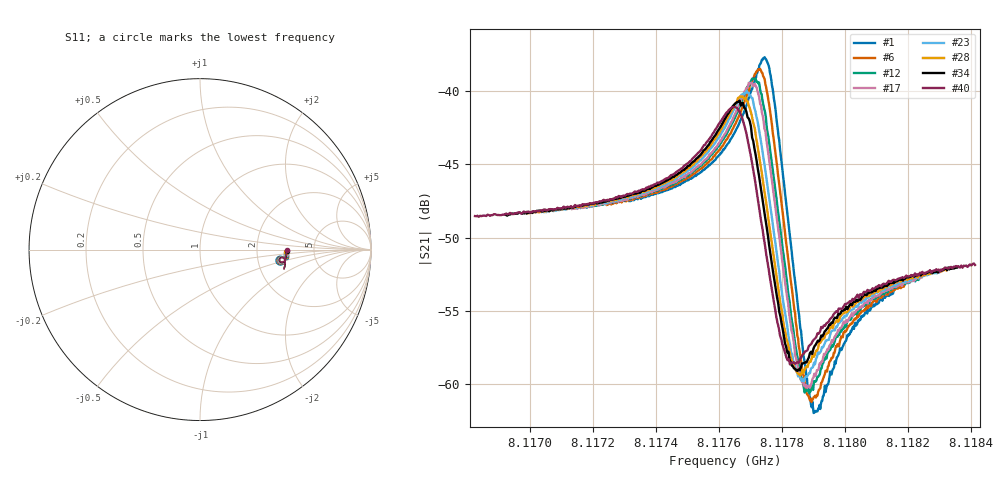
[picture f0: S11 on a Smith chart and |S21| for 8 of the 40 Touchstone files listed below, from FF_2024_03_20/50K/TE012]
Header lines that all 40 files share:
#  HZ  S  RI  R  50.00
! Rohde & Schwarz Vector Network Analyzer
! Rohde-Schwarz,ZNB20-2Port,1311601062101988,3.16
! freq[Hz]  re:S11  im:S11  re:S21  im:S21  re:S12  im:S12  re:S22  im:S22
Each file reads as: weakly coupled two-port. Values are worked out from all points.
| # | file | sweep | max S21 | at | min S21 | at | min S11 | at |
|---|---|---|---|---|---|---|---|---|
| 1 | 81_2_48.2021_50.1861267_19023.945_222.97179913520813_.s2p | 8.117314 GHz to 8.118154 GHz | -37.69 dB | 8.117744 GHz | -62.0 dB | 8.1179 GHz | -7.0 dB | 8.117753 GHz |
| 2 | 83_2_48.1961_50.1849861_19494.127_227.80148124694824_.s2p | 8.117304 GHz to 8.118159 GHz | -37.83 dB | 8.11774 GHz | -62.0 dB | 8.117907 GHz | -6.9 dB | 8.117749 GHz |
| 3 | 85_2_48.2022_50.1844521_19995.338_232.6983196735382_.s2p | 8.117302 GHz to 8.118159 GHz | -37.92 dB | 8.117743 GHz | -62.0 dB | 8.117904 GHz | -6.9 dB | 8.117749 GHz |
| 4 | 86_2_48.1984_50.1839981_20235.566_235.11758661270142_.s2p | 8.117294 GHz to 8.118164 GHz | -37.92 dB | 8.117738 GHz | -61.8 dB | 8.117905 GHz | -6.9 dB | 8.117748 GHz |
| 5 | 90_2_48.2003_50.1839714_21176.109_244.77413511276245_.s2p | 8.117273 GHz to 8.118175 GHz | -38.15 dB | 8.117738 GHz | -61.5 dB | 8.117902 GHz | -6.9 dB | 8.117744 GHz |
| 6 | 98_2_48.1957_50.1814575_23148.309_264.1296925544739_.s2p | 8.117243 GHz to 8.118189 GHz | -38.48 dB | 8.11773 GHz | -61.2 dB | 8.117893 GHz | -6.8 dB | 8.117739 GHz |
| 7 | 101_2_48.1968_50.1816101_24469.934_277.37652564048767_.s2p | 8.117222 GHz to 8.118198 GHz | -38.71 dB | 8.117717 GHz | -61.1 dB | 8.117895 GHz | -6.8 dB | 8.117732 GHz |
| 8 | 102_2_48.2026_50.1797829_24679.83_279.7968113422394_.s2p | 8.117214 GHz to 8.118203 GHz | -38.79 dB | 8.117716 GHz | -61.0 dB | 8.117884 GHz | -6.8 dB | 8.117731 GHz |
| 9 | 104_2_48.1983_50.1800156_25180.393_284.66336035728455_.s2p | 8.117196 GHz to 8.118217 GHz | -38.84 dB | 8.117722 GHz | -60.9 dB | 8.117882 GHz | -6.8 dB | 8.117732 GHz |
| 10 | 108_2_48.1974_50.1797829_26150.988_294.37465596199036_.s2p | 8.117185 GHz to 8.118219 GHz | -38.96 dB | 8.117712 GHz | -60.8 dB | 8.117893 GHz | -6.8 dB | 8.117728 GHz |
| 11 | 110_2_48.1975_50.1774673_26631.734_299.22163248062134_.s2p | 8.117183 GHz to 8.118216 GHz | -39.09 dB | 8.117715 GHz | -60.5 dB | 8.117875 GHz | -6.8 dB | 8.117726 GHz |
| 12 | 112_2_48.1966_50.1784592_27112.293_304.0671970844269_.s2p | 8.117161 GHz to 8.118234 GHz | -39.14 dB | 8.117705 GHz | -60.6 dB | 8.117888 GHz | -6.8 dB | 8.117724 GHz |
| 13 | 114_2_48.2025_50.1735039_27602.49_308.9105637073517_.s2p | 8.117157 GHz to 8.118233 GHz | -39.27 dB | 8.117703 GHz | -60.4 dB | 8.117873 GHz | -6.8 dB | 8.117725 GHz |
| 14 | 116_2_48.2016_50.174572_28112.832_313.7676160335541_.s2p | 8.117163 GHz to 8.118224 GHz | -39.25 dB | 8.117712 GHz | -60.3 dB | 8.117874 GHz | -6.7 dB | 8.11772 GHz |
| 15 | 117_2_48.2026_50.1753311_28353.061_316.191858291626_.s2p | 8.117148 GHz to 8.118237 GHz | -39.36 dB | 8.117701 GHz | -60.5 dB | 8.117872 GHz | -6.7 dB | 8.11772 GHz |
| 16 | 119_2_48.2032_50.1738129_28844.031_321.1812353134155_.s2p | 8.117149 GHz to 8.118233 GHz | -39.37 dB | 8.117707 GHz | -60.3 dB | 8.117875 GHz | -6.7 dB | 8.117721 GHz |
| 17 | 120_2_48.2_50.1747971_29074.311_323.5725076198578_.s2p | 8.117133 GHz to 8.118244 GHz | -39.42 dB | 8.117702 GHz | -60.3 dB | 8.11788 GHz | -6.7 dB | 8.117716 GHz |
| 18 | 122_2_48.2011_50.172287_30175.217_334.60672211647034_.s2p | 8.117121 GHz to 8.118248 GHz | -39.57 dB | 8.117698 GHz | -60.3 dB | 8.117879 GHz | -6.7 dB | 8.117713 GHz |
| 19 | 124_2_48.2033_50.1731262_30665.207_339.4324049949646_.s2p | 8.117111 GHz to 8.118252 GHz | -39.64 dB | 8.117696 GHz | -60.1 dB | 8.117864 GHz | -6.7 dB | 8.117713 GHz |
| 20 | 129_2_48.1983_50.1709938_31876.85_351.66021394729614_.s2p | 8.117075 GHz to 8.118277 GHz | -39.74 dB | 8.117694 GHz | -59.9 dB | 8.117871 GHz | -6.7 dB | 8.117709 GHz |
| 21 | 131_2_48.1968_50.1687126_32367.018_356.4608407020569_.s2p | 8.117078 GHz to 8.118273 GHz | -39.82 dB | 8.117693 GHz | -59.9 dB | 8.117873 GHz | -6.7 dB | 8.117705 GHz |
| 22 | 135_2_48.2047_50.1698151_33351.0_366.10956287384033_.s2p | 8.117053 GHz to 8.118287 GHz | -39.98 dB | 8.117682 GHz | -59.8 dB | 8.117864 GHz | -6.7 dB | 8.117704 GHz |
| 23 | 137_2_48.1967_50.1666985_33812.809_370.9793002605438_.s2p | 8.117038 GHz to 8.118298 GHz | -40.00 dB | 8.117687 GHz | -59.8 dB | 8.11787 GHz | -6.7 dB | 8.117703 GHz |
| 24 | 138_2_48.1988_50.1676826_34093.941_373.4352431297302_.s2p | 8.117042 GHz to 8.118292 GHz | -39.96 dB | 8.117692 GHz | -59.7 dB | 8.117864 GHz | -6.7 dB | 8.117704 GHz |
| 25 | 145_2_48.1967_50.164875_36370.328_396.2953391075134_.s2p | 8.117014 GHz to 8.118301 GHz | -40.14 dB | 8.117673 GHz | -59.5 dB | 8.117857 GHz | -6.6 dB | 8.117693 GHz |
| 26 | 146_2_48.1989_50.1635818_36621.277_398.72583055496216_.s2p | 8.117014 GHz to 8.1183 GHz | -40.32 dB | 8.117676 GHz | -59.4 dB | 8.117859 GHz | -6.6 dB | 8.117692 GHz |
| 27 | 148_2_48.2_50.1617508_37102.543_403.60719752311707_.s2p | 8.116985 GHz to 8.118322 GHz | -40.29 dB | 8.117677 GHz | -59.4 dB | 8.117851 GHz | -6.6 dB | 8.117691 GHz |
| 28 | 149_2_48.2006_50.1619835_37343.094_406.02577662467957_.s2p | 8.116985 GHz to 8.118321 GHz | -40.35 dB | 8.117673 GHz | -59.4 dB | 8.117857 GHz | -6.6 dB | 8.11769 GHz |
| 29 | 150_2_48.199_50.1631241_37584.211_408.45862102508545_.s2p | 8.116971 GHz to 8.118331 GHz | -40.38 dB | 8.117668 GHz | -59.5 dB | 8.117851 GHz | -6.6 dB | 8.117692 GHz |
| 30 | 151_2_48.1969_50.1628952_37835.547_410.89362025260925_.s2p | 8.116973 GHz to 8.118328 GHz | -40.37 dB | 8.117668 GHz | -59.2 dB | 8.117861 GHz | -6.6 dB | 8.117688 GHz |
| 31 | 153_2_48.2052_50.161377_38316.742_415.7492907047272_.s2p | 8.116955 GHz to 8.118341 GHz | -40.50 dB | 8.117676 GHz | -59.4 dB | 8.117856 GHz | -6.6 dB | 8.117686 GHz |
| 32 | 155_2_48.1999_50.1589851_38798.012_420.58153557777405_.s2p | 8.116946 GHz to 8.118345 GHz | -40.55 dB | 8.117674 GHz | -59.2 dB | 8.117855 GHz | -6.6 dB | 8.117688 GHz |
| 33 | 157_2_48.1972_50.1592903_39279.82_425.4243142604828_.s2p | 8.116938 GHz to 8.118349 GHz | -40.57 dB | 8.117665 GHz | -59.2 dB | 8.117855 GHz | -6.6 dB | 8.117686 GHz |
| 34 | 161_2_48.1993_50.1567802_40262.645_435.16260409355164_.s2p | 8.11692 GHz to 8.11836 GHz | -40.64 dB | 8.117665 GHz | -59.1 dB | 8.117849 GHz | -6.6 dB | 8.117683 GHz |
| 35 | 163_2_48.1966_50.1567039_40734.418_440.0044651031494_.s2p | 8.116907 GHz to 8.118367 GHz | -40.76 dB | 8.117659 GHz | -59.1 dB | 8.117845 GHz | -6.6 dB | 8.11768 GHz |
| 36 | 164_2_48.2019_50.1553307_41015.398_442.5935904979706_.s2p | 8.116896 GHz to 8.118375 GHz | -40.78 dB | 8.117658 GHz | -59.0 dB | 8.117842 GHz | -6.6 dB | 8.11768 GHz |
| 37 | 169_2_48.2028_50.1521416_42821.023_460.58090329170227_.s2p | 8.116864 GHz to 8.118389 GHz | -40.91 dB | 8.117654 GHz | -58.9 dB | 8.11784 GHz | -6.6 dB | 8.117673 GHz |
| 38 | 170_2_48.2002_50.1516876_43082.0_462.98507475852966_.s2p | 8.116863 GHz to 8.118389 GHz | -40.94 dB | 8.117653 GHz | -58.8 dB | 8.117836 GHz | -6.6 dB | 8.117672 GHz |
| 39 | 175_2_48.202_50.150238_44265.949_475.08871388435364_.s2p | 8.116843 GHz to 8.118399 GHz | -41.04 dB | 8.117648 GHz | -58.7 dB | 8.117843 GHz | -6.6 dB | 8.117672 GHz |
| 40 | 176_2_48.1977_50.1497078_44526.918_477.5041139125824_.s2p | 8.116825 GHz to 8.118412 GHz | -41.08 dB | 8.117642 GHz | -58.7 dB | 8.117825 GHz | -6.6 dB | 8.117666 GHz |
